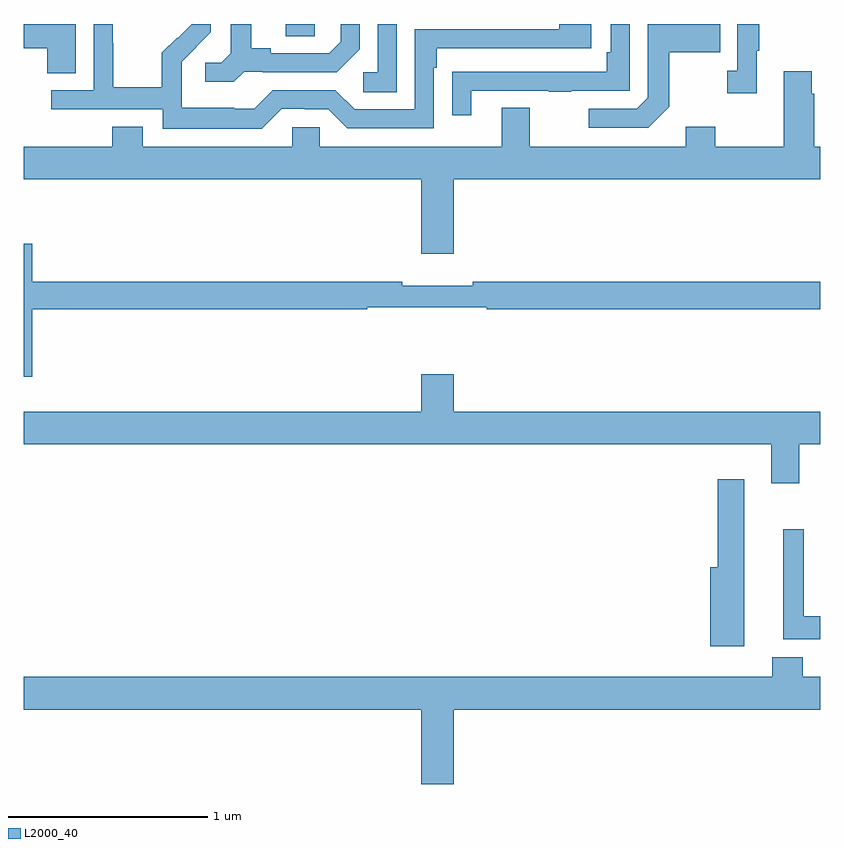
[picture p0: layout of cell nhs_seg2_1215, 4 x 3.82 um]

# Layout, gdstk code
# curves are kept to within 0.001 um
import gdstk
lib = gdstk.Library(unit=1e-6, precision=1e-09)
def R(c, l, rs):  # rectangles x0, y0, x1, y1
    for r in rs: c.add(gdstk.rectangle(r[:2], r[2:], *l))
def P(c, l, *ps):  # polygons
    for p in ps: c.add(gdstk.Polygon(p, *l))
L2000_40 = (2000, 40)

nhs_seg2_1215 = lib.new_cell('nhs_seg2_1215')
R(nhs_seg2_1215, L2000_40, [(176.315,597.739,176.46,597.8)])
P(nhs_seg2_1215, L2000_40, [(176.106,597.561),(176.2,597.561),(176.2,597.558),(176.572,597.558),(176.688,597.674),(176.688,597.8),(176.591,597.8),(176.591,597.711),(176.534,597.654),(176.239,597.654),(176.239,597.677),(176.143,597.677),(176.143,597.8),(176.039,597.8),(176.039,597.653),(175.992,597.606),(175.911,597.606),(175.911,597.509),(176.054,597.509)],
  [(178.681,597.665),(178.693,597.665),(178.693,597.8),(178.584,597.8),(178.584,597.566),(178.533,597.566),(178.533,597.453),(178.681,597.453)],
  [(175.261,597.8),(175,597.8),(175,597.677),(175.118,597.677),(175.118,597.553),(175.261,597.553)],
  [(176.874,597.8),(176.778,597.8),(176.778,597.558),(176.706,597.558),(176.706,597.457),(176.874,597.457)],
  [(177.247,597.465),(177.637,597.465),(177.637,597.46),(177.749,597.46),(177.749,597.465),(178.044,597.465),(178.044,597.8),(177.948,597.8),(177.948,597.658),(177.928,597.658),(177.928,597.561),(177.253,597.561),(177.253,597.56),(177.151,597.56),(177.151,597.342),(177.247,597.342)],
  [(176.295,597.375),(176.411,597.375),(176.411,597.372),(176.529,597.372),(176.625,597.276),(177.06,597.276),(177.06,597.581),(177.073,597.581),(177.073,597.678),(177.85,597.678),(177.85,597.8),(177.689,597.8),(177.689,597.774),(176.964,597.774),(176.964,597.372),(176.661,597.372),(176.565,597.468),(176.25,597.468),(176.157,597.375),(176.057,597.375),(176.057,597.379),(175.794,597.379),(175.794,597.513),(175.792,597.513),(175.792,597.61),(175.938,597.758),(175.938,597.8),(175.844,597.8),(175.773,597.729),(175.77,597.732),(175.693,597.655),(175.693,597.481),(175.449,597.481),(175.449,597.704),(175.446,597.704),(175.446,597.8),(175.35,597.8),(175.35,597.468),(175.137,597.468),(175.137,597.372),(175.698,597.372),(175.698,597.275),(176.195,597.275)],
  [(178.243,597.385),(178.243,597.658),(178.499,597.658),(178.499,597.8),(178.134,597.8),(178.134,597.429),(178.08,597.375),(177.837,597.375),(177.837,597.279),(178.137,597.279)],
  [(177.16,597.02),(179,597.02),(179,597.184),(178.97,597.184),(178.97,597.449),(178.957,597.449),(178.957,597.562),(178.817,597.562),(178.817,597.184),(178.473,597.184),(178.473,597.283),(178.325,597.283),(178.325,597.184),(177.541,597.184),(177.541,597.379),(177.401,597.379),(177.401,597.184),(176.487,597.184),(176.487,597.282),(176.349,597.282),(176.349,597.184),(175.597,597.184),(175.597,597.283),(175.445,597.283),(175.445,597.184),(175,597.184),(175,597.02),(176.996,597.02),(176.996,596.646),(177.16,596.646)],
  [(175.043,596.368),(176.726,596.368),(176.726,596.376),(177.326,596.376),(177.326,596.368),(179,596.368),(179,596.504),(177.256,596.504),(177.256,596.485),(176.9,596.485),(176.9,596.504),(175.043,596.504),(175.043,596.695),(175,596.695),(175,596.028),(175.043,596.028)],
  [(178.894,595.688),(179,595.688),(179,595.852),(177.16,595.852),(177.16,596.041),(176.996,596.041),(176.996,595.852),(175,595.852),(175,595.688),(178.754,595.688),(178.754,595.494),(178.894,595.494)],
  [(178.618,595.513),(178.487,595.513),(178.487,595.072),(178.448,595.072),(178.448,594.674),(178.618,594.674)],
  [(179,594.824),(178.918,594.824),(178.918,595.261),(178.814,595.261),(178.814,594.708),(179,594.708)],
  [(177.16,594.356),(179,594.356),(179,594.52),(178.912,594.52),(178.912,594.619),(178.76,594.619),(178.76,594.52),(175,594.52),(175,594.356),(176.996,594.356),(176.996,593.982),(177.16,593.982)])

lib.write_gds('nhs_seg2_1215.gds')
